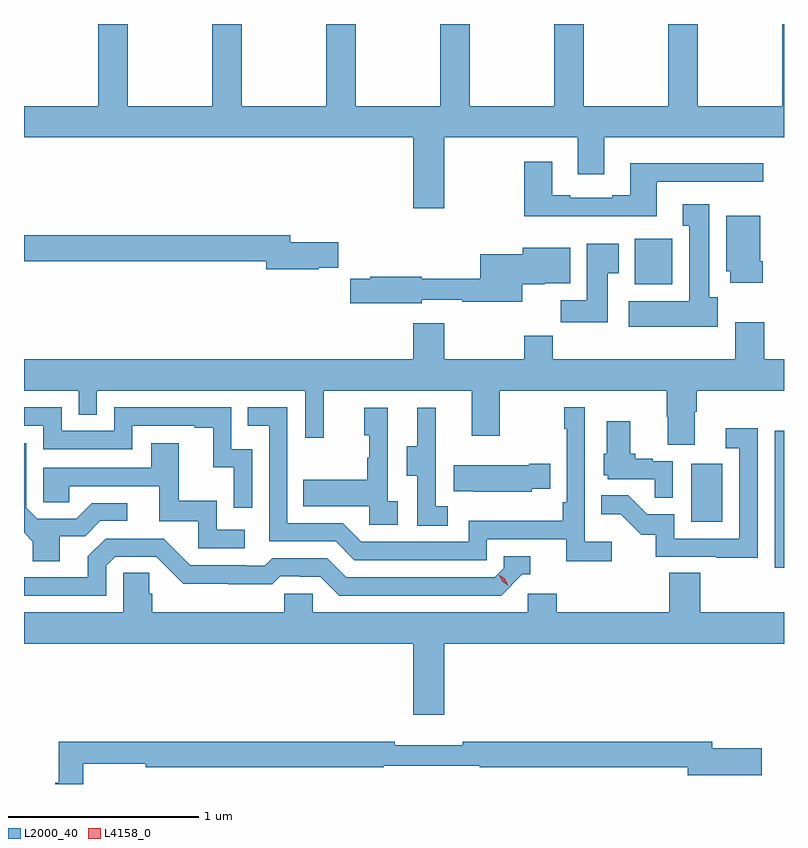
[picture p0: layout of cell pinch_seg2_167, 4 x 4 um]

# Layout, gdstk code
import gdstk
lib = gdstk.Library(unit=1e-6, precision=1e-09)
def R(c, l, rs):  # rectangles x0, y0, x1, y1
    for r in rs: c.add(gdstk.rectangle(r[:2], r[2:], *l))
def P(c, l, *ps):  # polygons
    for p in ps: c.add(gdstk.Polygon(p, *l))
L2000_40 = (2000, 40)
L4158_0 = (4158, 0)

pinch_seg2_167 = lib.new_cell('pinch_seg2_167')
R(pinch_seg2_167, L2000_40, [(1113.962,626.724,1114.012,627.445), (1113.524,626.964,1113.688,627.271), (1113.227,628.214,1113.424,628.456)])
P(pinch_seg2_167, L2000_40, [(1112.803,629.152),(1112.358,629.152),(1112.358,629.585),(1112.203,629.585),(1112.203,629.152),(1111.758,629.152),(1111.758,629.585),(1111.603,629.585),(1111.603,629.152),(1111.158,629.152),(1111.158,629.585),(1111.003,629.585),(1111.003,629.152),(1110.558,629.152),(1110.558,629.585),(1110.403,629.585),(1110.403,629.152),(1110.012,629.152),(1110.012,628.988),(1112.06,628.988),(1112.06,628.614),(1112.224,628.614),(1112.224,628.988),(1112.927,628.988),(1112.927,628.794),(1113.067,628.794),(1113.067,628.988),(1114.012,628.988),(1114.012,629.585),(1114.003,629.585),(1114.003,629.152),(1113.558,629.152),(1113.558,629.585),(1113.403,629.585),(1113.403,629.152),(1112.958,629.152),(1112.958,629.585),(1112.803,629.585)],
  [(1113.343,628.755),(1113.904,628.755),(1113.904,628.852),(1113.203,628.852),(1113.203,628.684),(1113.107,628.684),(1113.107,628.671),(1112.887,628.671),(1112.887,628.684),(1112.791,628.684),(1112.791,628.861),(1112.644,628.861),(1112.644,628.574),(1113.343,628.574)],
  [(1113.664,628.146),(1113.619,628.146),(1113.619,628.636),(1113.479,628.636),(1113.479,628.523),(1113.512,628.523),(1113.512,628.126),(1113.195,628.126),(1113.195,627.992),(1113.664,627.992)],
  [(1113.899,628.336),(1113.886,628.336),(1113.886,628.576),(1113.707,628.576),(1113.707,628.284),(1113.728,628.284),(1113.728,628.224),(1113.899,628.224)],
  [(1111.562,628.302),(1111.667,628.302),(1111.667,628.436),(1111.414,628.436),(1111.414,628.472),(1110.012,628.472),(1110.012,628.336),(1111.286,628.336),(1111.286,628.294),(1111.562,628.294)],
  [(1113.085,628.273),(1113.142,628.273),(1113.142,628.429),(1112.975,628.429),(1112.975,628.132),(1112.836,628.132),(1112.836,628.014),(1113.085,628.014)],
  [(1112.106,628.134),(1112.318,628.134),(1112.318,628.122),(1112.635,628.122),(1112.635,628.214),(1112.754,628.214),(1112.754,628.22),(1112.887,628.22),(1112.887,628.408),(1112.636,628.408),(1112.636,628.372),(1112.414,628.372),(1112.414,628.243),(1112.106,628.243),(1112.106,628.256),(1111.834,628.256),(1111.834,628.244),(1111.729,628.244),(1111.729,628.114),(1112.106,628.114)],
  [(1113.541,627.544),(1113.554,627.544),(1113.554,627.656),(1114.012,627.656),(1114.012,627.82),(1113.908,627.82),(1113.908,628.015),(1113.755,628.015),(1113.755,627.82),(1112.795,627.82),(1112.795,627.944),(1112.644,627.944),(1112.644,627.82),(1112.224,627.82),(1112.224,628.009),(1112.06,628.009),(1112.06,627.82),(1110.012,627.82),(1110.012,627.656),(1110.3,627.656),(1110.3,627.529),(1110.396,627.529),(1110.396,627.656),(1111.491,627.656),(1111.491,627.408),(1111.589,627.408),(1111.589,627.656),(1112.369,627.656),(1112.369,627.417),(1112.517,627.417),(1112.517,627.656),(1113.394,627.656),(1113.394,627.519),(1113.401,627.519),(1113.401,627.37),(1113.541,627.37)],
  [(1113.106,626.86),(1112.964,626.86),(1112.964,627.568),(1112.856,627.568),(1112.856,627.455),(1112.868,627.455),(1112.868,627.067),(1112.848,627.067),(1112.848,626.971),(1112.352,626.971),(1112.352,626.859),(1111.788,626.859),(1111.689,626.958),(1111.398,626.958),(1111.398,627.567),(1111.189,627.567),(1111.189,627.471),(1111.302,627.471),(1111.302,626.862),(1111.652,626.862),(1111.751,626.763),(1112.448,626.763),(1112.448,626.874),(1112.867,626.874),(1112.867,626.758),(1113.106,626.758)],
  [(1111.212,627.348),(1111.104,627.348),(1111.104,627.567),(1110.486,627.567),(1110.486,627.444),(1110.21,627.444),(1110.21,627.567),(1110.012,627.567),(1110.012,627.471),(1110.114,627.471),(1110.114,627.348),(1110.582,627.348),(1110.582,627.471),(1110.911,627.471),(1110.911,627.459),(1111.007,627.459),(1111.007,627.251),(1111.116,627.251),(1111.116,627.039),(1111.212,627.039)],
  [(1112.242,627.047),(1112.178,627.047),(1112.178,627.351),(1112.18,627.351),(1112.18,627.565),(1112.081,627.565),(1112.081,627.363),(1112.027,627.363),(1112.027,627.208),(1112.082,627.208),(1112.082,626.944),(1112.242,626.944)],
  [(1111.978,627.074),(1111.926,627.074),(1111.926,627.565),(1111.802,627.565),(1111.802,627.42),(1111.828,627.42),(1111.828,627.302),(1111.818,627.302),(1111.818,627.187),(1111.483,627.187),(1111.483,627.047),(1111.83,627.047),(1111.83,626.949),(1111.978,626.949)],
  [(1113.426,627.285),(1113.32,627.285),(1113.32,627.298),(1113.228,627.298),(1113.228,627.324),(1113.202,627.324),(1113.202,627.493),(1113.08,627.493),(1113.08,627.324),(1113.062,627.324),(1113.062,627.21),(1113.084,627.21),(1113.084,627.189),(1113.331,627.189),(1113.331,627.091),(1113.426,627.091)],
  [(1113.873,627.457),(1113.705,627.457),(1113.705,627.351),(1113.777,627.351),(1113.777,626.877),(1113.435,626.877),(1113.435,627.006),(1113.291,627.006),(1113.193,627.104),(1113.049,627.104),(1113.049,627.005),(1113.153,627.005),(1113.26,626.898),(1113.337,626.898),(1113.337,626.781),(1113.655,626.781),(1113.655,626.776),(1113.873,626.776)],
  [(1111.174,626.922),(1111.026,626.922),(1111.026,627.076),(1110.827,627.076),(1110.827,627.379),(1110.683,627.379),(1110.683,627.249),(1110.114,627.249),(1110.114,627.069),(1110.251,627.069),(1110.251,627.153),(1110.725,627.153),(1110.725,626.967),(1110.93,626.967),(1110.93,626.826),(1111.174,626.826)],
  [(1110.199,626.89),(1110.334,626.89),(1110.414,626.97),(1110.556,626.97),(1110.556,627.063),(1110.368,627.063),(1110.287,626.982),(1110.081,626.982),(1110.024,627.039),(1110.024,627.379),(1110.012,627.379),(1110.012,626.907),(1110.059,626.86),(1110.059,626.758),(1110.199,626.758)],
  [(1112.685,627.14),(1112.783,627.14),(1112.783,627.27),(1112.672,627.27),(1112.672,627.262),(1112.275,627.262),(1112.275,627.125),(1112.383,627.125),(1112.383,627.122),(1112.685,627.122)],
  [(1110.444,626.733),(1110.492,626.781),(1110.708,626.781),(1110.85,626.639),(1111.086,626.639),(1111.086,626.637),(1111.319,626.637),(1111.361,626.679),(1111.464,626.679),(1111.464,626.676),(1111.571,626.676),(1111.67,626.577),(1112.523,626.577),(1112.634,626.688),(1112.677,626.688),(1112.677,626.784),(1112.538,626.784),(1112.538,626.721),(1112.49,626.673),(1111.707,626.673),(1111.608,626.772),(1111.319,626.772),(1111.28,626.733),(1111.181,626.733),(1111.181,626.736),(1110.888,626.736),(1110.747,626.877),(1110.441,626.877),(1110.347,626.783),(1110.347,626.673),(1110.012,626.673),(1110.012,626.577),(1110.444,626.577)],
  [(1112.224,626.324),(1114.012,626.324),(1114.012,626.488),(1113.572,626.488),(1113.572,626.696),(1113.407,626.696),(1113.407,626.488),(1112.816,626.488),(1112.816,626.586),(1112.664,626.586),(1112.664,626.488),(1111.533,626.488),(1111.533,626.586),(1111.383,626.586),(1111.383,626.488),(1110.686,626.488),(1110.686,626.586),(1110.671,626.586),(1110.671,626.696),(1110.534,626.696),(1110.534,626.488),(1110.012,626.488),(1110.012,626.324),(1112.06,626.324),(1112.06,625.95),(1112.224,625.95)],
  [(1110.323,625.692),(1110.652,625.692),(1110.652,625.672),(1111.905,625.672),(1111.905,625.68),(1112.41,625.68),(1112.41,625.672),(1113.506,625.672),(1113.506,625.63),(1113.895,625.63),(1113.895,625.772),(1113.634,625.772),(1113.634,625.808),(1112.32,625.808),(1112.32,625.789),(1111.964,625.789),(1111.964,625.808),(1110.195,625.808),(1110.195,625.592),(1110.176,625.592),(1110.176,625.585),(1110.323,625.585)])
P(pinch_seg2_167, L4158_0, [(1112.558,626.632),(1112.528,626.652),(1112.512,626.685),(1112.512,626.686),(1112.512,626.686),(1112.543,626.666),(1112.558,626.632),(1112.558,626.632)])

lib.write_gds('pinch_seg2_167.gds')
